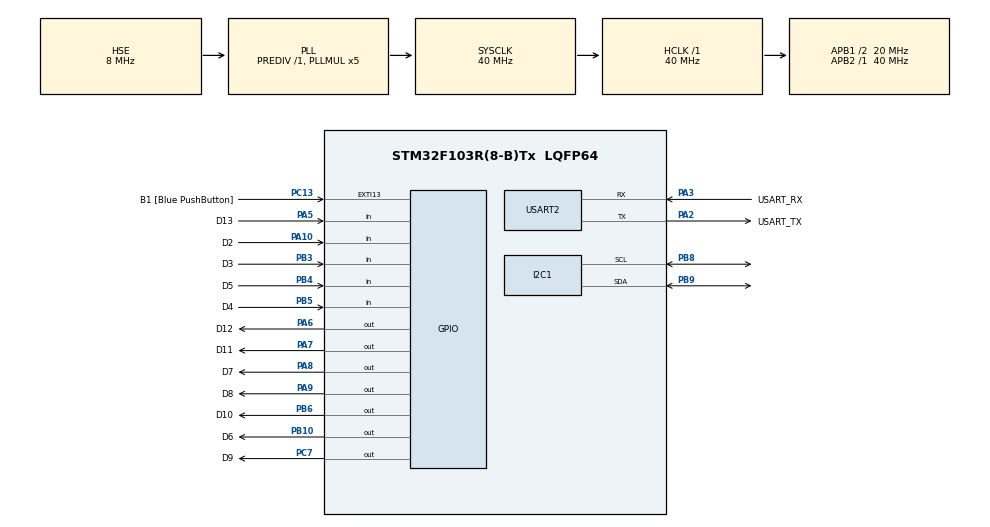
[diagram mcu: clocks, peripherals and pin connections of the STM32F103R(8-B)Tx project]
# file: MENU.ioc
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ADC1.Channel-0\#ChannelRegularConversion=ADC_CHANNEL_TEMPSENSOR
ADC1.ContinuousConvMode=ENABLE
ADC1.NbrOfConversionFlag=1
ADC1.Rank-0\#ChannelRegularConversion=1
ADC1.SamplingTime-0\#ChannelRegularConversion=ADC_SAMPLETIME_71CYCLES_5
ADC1.master=1
Dma.ADC1.0.Direction=DMA_PERIPH_TO_MEMORY
Dma.ADC1.0.Instance=DMA1_Channel1
Dma.ADC1.0.MemDataAlignment=DMA_MDATAALIGN_WORD
Dma.ADC1.0.MemInc=DMA_MINC_ENABLE
Dma.ADC1.0.Mode=DMA_CIRCULAR
Dma.ADC1.0.PeriphDataAlignment=DMA_PDATAALIGN_WORD
Dma.ADC1.0.PeriphInc=DMA_PINC_DISABLE
Dma.ADC1.0.Priority=DMA_PRIORITY_LOW
Dma.Request0=ADC1
Mcu.Family=STM32F1
Mcu.Name=STM32F103R(8-B)Tx
Mcu.Package=LQFP64
NVIC.ADC1_2_IRQn=true\:0\:0\:false\:false\:true\:true\:true
NVIC.DMA1_Channel1_IRQn=true\:0\:0\:false\:false\:true\:false\:true
NVIC.EXTI15_10_IRQn=true\:0\:0\:false\:false\:true\:true\:true
NVIC.PriorityGroup=NVIC_PRIORITYGROUP_4
PA10.GPIO_Label=D2
PA10.Signal=GPIO_Input
PA13.GPIO_Label=TMS
PA13.Mode=Serial_Wire
PA13.Signal=SYS_JTMS-SWDIO
PA14.GPIO_Label=TCK
PA14.Mode=Serial_Wire
PA14.Signal=SYS_JTCK-SWCLK
PA2.GPIO_Label=USART_TX
PA2.GPIO_Mode=GPIO_MODE_AF_PP
PA2.GPIO_PuPd=GPIO_NOPULL
PA2.GPIO_Speed=GPIO_SPEED_FREQ_LOW
PA2.Mode=Asynchronous
PA2.Signal=USART2_TX
PA3.GPIO_Label=USART_RX
PA3.GPIO_Mode=GPIO_MODE_AF_PP
PA3.GPIO_PuPd=GPIO_NOPULL
PA3.GPIO_Speed=GPIO_SPEED_FREQ_LOW
PA3.Mode=Asynchronous
PA3.Signal=USART2_RX
PA5.GPIO_Label=D13
PA5.Signal=GPIO_Input
PA6.GPIO_Label=D12
PA6.Signal=GPIO_Output
PA7.GPIO_Label=D11
PA7.Signal=GPIO_Output
PA8.GPIO_Label=D7
PA8.Signal=GPIO_Output
PA9.GPIO_Label=D8
PA9.Signal=GPIO_Output
PB10.GPIO_Label=D6
PB10.Signal=GPIO_Output
PB3.GPIO_Label=D3
PB3.Signal=GPIO_Input
PB4.GPIO_Label=D5
PB4.Signal=GPIO_Input
PB5.GPIO_Label=D4
PB5.Signal=GPIO_Input
PB6.GPIO_Label=D10
PB6.Signal=GPIO_Output
PB8.Mode=I2C
PB8.Signal=I2C1_SCL
PB9.Mode=I2C
PB9.Signal=I2C1_SDA
PC13-TAMPER-RTC.GPIO_Label=B1 [Blue PushButton]
PC13-TAMPER-RTC.GPIO_ModeDefaultEXTI=GPIO_MODE_IT_RISING
PC13-TAMPER-RTC.GPIO_PuPd=GPIO_NOPULL
PC13-TAMPER-RTC.Signal=GPXTI13
PC14-OSC32_IN.Mode=LSE-External-Oscillator
PC14-OSC32_IN.Signal=RCC_OSC32_IN
PC15-OSC32_OUT.Mode=LSE-External-Oscillator
PC15-OSC32_OUT.Signal=RCC_OSC32_OUT
PC7.GPIO_Label=D9
PC7.PinState=GPIO_PIN_SET
PC7.Signal=GPIO_Output
PD0-OSC_IN.Mode=HSE-External-Clock-Source
PD0-OSC_IN.Signal=RCC_OSC_IN
PD1-OSC_OUT.Mode=HSE-External-Clock-Source
PD1-OSC_OUT.Signal=RCC_OSC_OUT
ProjectManager.HeapSize=0x200
ProjectManager.StackSize=0x400
ProjectManager.TargetToolchain=STM32CubeIDE
RCC.ADCPresc=RCC_ADCPCLK2_DIV8
RCC.AHBFreq_Value=40000000
RCC.APB1CLKDivider=RCC_HCLK_DIV2
RCC.APB1Freq_Value=20000000
RCC.APB1TimFreq_Value=40000000
RCC.APB2Freq_Value=40000000
RCC.APB2TimFreq_Value=40000000
RCC.HCLKFreq_Value=40000000
RCC.PLLMUL=RCC_PLL_MUL5
RCC.PLLSourceVirtual=RCC_PLLSOURCE_HSE
RCC.RTCClockSelection=RCC_RTCCLKSOURCE_LSE
RCC.SYSCLKFreq_VALUE=40000000
RCC.SYSCLKSource=RCC_SYSCLKSOURCE_PLLCLK
RCC.USBFreq_Value=40000000
USART2.VirtualMode=VM_ASYNC
VP_ADC1_TempSens_Input.Mode=IN-TempSens
board=NUCLEO-F103RB

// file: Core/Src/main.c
/* USER CODE BEGIN Header */
/**
  ******************************************************************************
  * @file           : main.c
  * @brief          : Main program body
  ******************************************************************************
  * @attention
  *
  * <h2><center>&copy; Copyright (c) 2024 STMicroelectronics.
  * All rights reserved.</center></h2>
  *
  * This software component is licensed by ST under BSD 3-Clause license,
  * the "License"; You may not use this file except in compliance with the
  * License. You may obtain a copy of the License at:
  *                        opensource.org/licenses/BSD-3-Clause
  *
  ******************************************************************************
  */
/* USER CODE END Header */
#include "main.h"

/* USER CODE BEGIN Includes */

/* Application includes. */
#include "app.h"

/* USER CODE END Includes */

/* USER CODE BEGIN PD */

//Sensor de temperatura
#define V25 1.43
#define VSEN 3.3/4096
#define AVG_SLOPE 0.0043

/* USER CODE END PD */

ADC_HandleTypeDef hadc1;
DMA_HandleTypeDef hdma_adc1;

I2C_HandleTypeDef hi2c1;

UART_HandleTypeDef huart2;

void SystemClock_Config(void);
static void MX_GPIO_Init(void);
static void MX_USART2_UART_Init(void);
static void MX_DMA_Init(void);
static void MX_ADC1_Init(void);
static void MX_I2C1_Init(void);

/* USER CODE BEGIN 0 */
extern void initialise_monitor_handles(void);

uint32_t ADC_VAL = 0;
float temp = 0;

void HAL_ADC_ConvCpltCallback(ADC_HandleTypeDef* hadc){
	if (hadc == &hadc1){
		ADC_VAL = HAL_ADC_GetValue(&hadc1);
		temp = ( (V25 - VSEN*ADC_VAL)/AVG_SLOPE) + 25;
		HAL_ADC_Stop_IT(&hadc1);
		//LOGGER_LOG("value = %d \r\n", (int) value);
	}
}

/* USER CODE END 0 */

int main(void)
{
  /* USER CODE BEGIN 1 */
	initialise_monitor_handles();

  /* USER CODE END 1 */

  /* MCU Configuration--------------------------------------------------------*/

  /* Reset of all peripherals, Initializes the Flash interface and the Systick. */
  HAL_Init();

  /* Configure the system clock */
  SystemClock_Config();

  /* Initialize all configured peripherals */
  MX_GPIO_Init();
  MX_USART2_UART_Init();
  MX_DMA_Init();
  MX_ADC1_Init();
  MX_I2C1_Init();
  /* USER CODE BEGIN 2 */

	/* Application Init */
	app_init();
	HAL_ADC_Start_IT(&hadc1);

  /* USER CODE END 2 */

  /* Infinite loop */
  while (1)
  {

    /* USER CODE BEGIN 3 */

	  /* Application Update */
	  app_update(temp);
	  HAL_ADC_Start_IT(&hadc1);
  }
  /* USER CODE END 3 */
}

void SystemClock_Config(void)
{
  RCC_OscInitTypeDef RCC_OscInitStruct = {0};
  RCC_ClkInitTypeDef RCC_ClkInitStruct = {0};
  RCC_PeriphCLKInitTypeDef PeriphClkInit = {0};

  /** Initializes the RCC Oscillators according to the specified parameters
  * in the RCC_OscInitTypeDef structure.
  */
  RCC_OscInitStruct.OscillatorType = RCC_OSCILLATORTYPE_HSE;
  RCC_OscInitStruct.HSEState = RCC_HSE_BYPASS;
  RCC_OscInitStruct.HSEPredivValue = RCC_HSE_PREDIV_DIV1;
  RCC_OscInitStruct.HSIState = RCC_HSI_ON;
  RCC_OscInitStruct.PLL.PLLState = RCC_PLL_ON;
  RCC_OscInitStruct.PLL.PLLSource = RCC_PLLSOURCE_HSE;
  RCC_OscInitStruct.PLL.PLLMUL = RCC_PLL_MUL5;
  if (HAL_RCC_OscConfig(&RCC_OscInitStruct) != HAL_OK)
  {
    Error_Handler();
  }
  /** Initializes the CPU, AHB and APB buses clocks
  */
  RCC_ClkInitStruct.ClockType = RCC_CLOCKTYPE_HCLK|RCC_CLOCKTYPE_SYSCLK
                              |RCC_CLOCKTYPE_PCLK1|RCC_CLOCKTYPE_PCLK2;
  RCC_ClkInitStruct.SYSCLKSource = RCC_SYSCLKSOURCE_PLLCLK;
  RCC_ClkInitStruct.AHBCLKDivider = RCC_SYSCLK_DIV1;
  RCC_ClkInitStruct.APB1CLKDivider = RCC_HCLK_DIV2;
  RCC_ClkInitStruct.APB2CLKDivider = RCC_HCLK_DIV1;

  if (HAL_RCC_ClockConfig(&RCC_ClkInitStruct, FLASH_LATENCY_1) != HAL_OK)
  {
    Error_Handler();
  }
  PeriphClkInit.PeriphClockSelection = RCC_PERIPHCLK_ADC;
  PeriphClkInit.AdcClockSelection = RCC_ADCPCLK2_DIV8;
  if (HAL_RCCEx_PeriphCLKConfig(&PeriphClkInit) != HAL_OK)
  {
    Error_Handler();
  }
}

static void MX_ADC1_Init(void)
{

  ADC_ChannelConfTypeDef sConfig = {0};

  /** Common config
  */
  hadc1.Instance = ADC1;
  hadc1.Init.ScanConvMode = ADC_SCAN_DISABLE;
  hadc1.Init.ContinuousConvMode = ENABLE;
  hadc1.Init.DiscontinuousConvMode = DISABLE;
  hadc1.Init.ExternalTrigConv = ADC_SOFTWARE_START;
  hadc1.Init.DataAlign = ADC_DATAALIGN_RIGHT;
  hadc1.Init.NbrOfConversion = 1;
  if (HAL_ADC_Init(&hadc1) != HAL_OK)
  {
    Error_Handler();
  }
  /** Configure Regular Channel
  */
  sConfig.Channel = ADC_CHANNEL_TEMPSENSOR;
  sConfig.Rank = ADC_REGULAR_RANK_1;
  sConfig.SamplingTime = ADC_SAMPLETIME_71CYCLES_5;
  if (HAL_ADC_ConfigChannel(&hadc1, &sConfig) != HAL_OK)
  {
    Error_Handler();
  }

}

static void MX_I2C1_Init(void)
{

  hi2c1.Instance = I2C1;
  hi2c1.Init.ClockSpeed = 100000;
  hi2c1.Init.DutyCycle = I2C_DUTYCYCLE_2;
  hi2c1.Init.OwnAddress1 = 0;
  hi2c1.Init.AddressingMode = I2C_ADDRESSINGMODE_7BIT;
  hi2c1.Init.DualAddressMode = I2C_DUALADDRESS_DISABLE;
  hi2c1.Init.OwnAddress2 = 0;
  hi2c1.Init.GeneralCallMode = I2C_GENERALCALL_DISABLE;
  hi2c1.Init.NoStretchMode = I2C_NOSTRETCH_DISABLE;
  if (HAL_I2C_Init(&hi2c1) != HAL_OK)
  {
    Error_Handler();
  }

}

static void MX_USART2_UART_Init(void)
{

  huart2.Instance = USART2;
  huart2.Init.BaudRate = 115200;
  huart2.Init.WordLength = UART_WORDLENGTH_8B;
  huart2.Init.StopBits = UART_STOPBITS_1;
  huart2.Init.Parity = UART_PARITY_NONE;
  huart2.Init.Mode = UART_MODE_TX_RX;
  huart2.Init.HwFlowCtl = UART_HWCONTROL_NONE;
  huart2.Init.OverSampling = UART_OVERSAMPLING_16;
  if (HAL_UART_Init(&huart2) != HAL_OK)
  {
    Error_Handler();
  }

}

static void MX_DMA_Init(void)
{

  /* DMA controller clock enable */
  __HAL_RCC_DMA1_CLK_ENABLE();

  /* DMA interrupt init */
  /* DMA1_Channel1_IRQn interrupt configuration */
  HAL_NVIC_SetPriority(DMA1_Channel1_IRQn, 0, 0);
  HAL_NVIC_EnableIRQ(DMA1_Channel1_IRQn);

}

static void MX_GPIO_Init(void)
{
  GPIO_InitTypeDef GPIO_InitStruct = {0};

  /* GPIO Ports Clock Enable */
  __HAL_RCC_GPIOC_CLK_ENABLE();
  __HAL_RCC_GPIOD_CLK_ENABLE();
  __HAL_RCC_GPIOA_CLK_ENABLE();
  __HAL_RCC_GPIOB_CLK_ENABLE();

  /*Configure GPIO pin Output Level */
  HAL_GPIO_WritePin(GPIOA, D12_Pin|D11_Pin|D7_Pin|D8_Pin, GPIO_PIN_RESET);

  /*Configure GPIO pin Output Level */
  HAL_GPIO_WritePin(GPIOB, D6_Pin|D10_Pin, GPIO_PIN_RESET);

  /*Configure GPIO pin Output Level */
  HAL_GPIO_WritePin(D9_GPIO_Port, D9_Pin, GPIO_PIN_SET);

  /*Configure GPIO pin : B1_Pin */
  GPIO_InitStruct.Pin = B1_Pin;
  GPIO_InitStruct.Mode = GPIO_MODE_IT_RISING;
  GPIO_InitStruct.Pull = GPIO_NOPULL;
  HAL_GPIO_Init(B1_GPIO_Port, &GPIO_InitStruct);

  /*Configure GPIO pins : D13_Pin D2_Pin */
  GPIO_InitStruct.Pin = D13_Pin|D2_Pin;
  GPIO_InitStruct.Mode = GPIO_MODE_INPUT;
  GPIO_InitStruct.Pull = GPIO_NOPULL;
  HAL_GPIO_Init(GPIOA, &GPIO_InitStruct);

  /*Configure GPIO pins : D12_Pin D11_Pin D7_Pin D8_Pin */
  GPIO_InitStruct.Pin = D12_Pin|D11_Pin|D7_Pin|D8_Pin;
  GPIO_InitStruct.Mode = GPIO_MODE_OUTPUT_PP;
  GPIO_InitStruct.Pull = GPIO_NOPULL;
  GPIO_InitStruct.Speed = GPIO_SPEED_FREQ_LOW;
  HAL_GPIO_Init(GPIOA, &GPIO_InitStruct);

  /*Configure GPIO pins : D6_Pin D10_Pin */
  GPIO_InitStruct.Pin = D6_Pin|D10_Pin;
  GPIO_InitStruct.Mode = GPIO_MODE_OUTPUT_PP;
  GPIO_InitStruct.Pull = GPIO_NOPULL;
  GPIO_InitStruct.Speed = GPIO_SPEED_FREQ_LOW;
  HAL_GPIO_Init(GPIOB, &GPIO_InitStruct);

  /*Configure GPIO pin : D9_Pin */
  GPIO_InitStruct.Pin = D9_Pin;
  GPIO_InitStruct.Mode = GPIO_MODE_OUTPUT_PP;
  GPIO_InitStruct.Pull = GPIO_NOPULL;
  GPIO_InitStruct.Speed = GPIO_SPEED_FREQ_LOW;
  HAL_GPIO_Init(D9_GPIO_Port, &GPIO_InitStruct);

  /*Configure GPIO pins : D3_Pin D5_Pin D4_Pin */
  GPIO_InitStruct.Pin = D3_Pin|D5_Pin|D4_Pin;
  GPIO_InitStruct.Mode = GPIO_MODE_INPUT;
  GPIO_InitStruct.Pull = GPIO_NOPULL;
  HAL_GPIO_Init(GPIOB, &GPIO_InitStruct);

  /* EXTI interrupt init*/
  HAL_NVIC_SetPriority(EXTI15_10_IRQn, 0, 0);
  HAL_NVIC_EnableIRQ(EXTI15_10_IRQn);

}

void Error_Handler(void)
{
  __disable_irq();
  while (1)
  {
  }
}

/************************ (C) COPYRIGHT STMicroelectronics *****END OF FILE****/
